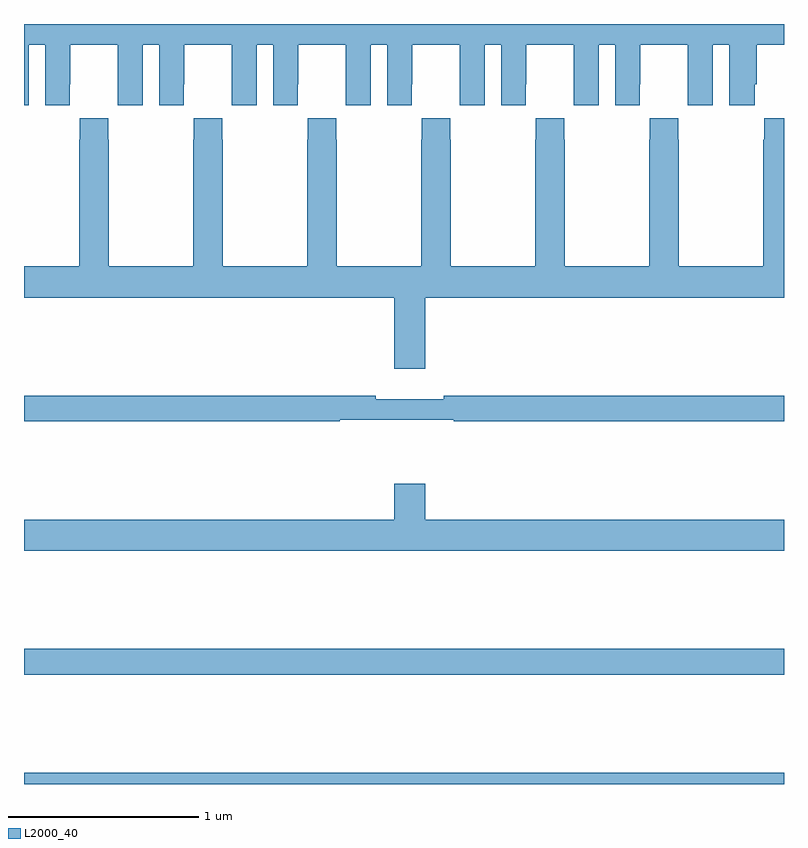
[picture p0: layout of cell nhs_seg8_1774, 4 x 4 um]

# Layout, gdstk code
import gdstk
lib = gdstk.Library(unit=1e-6, precision=1e-09)
def R(c, l, rs):  # rectangles x0, y0, x1, y1
    for r in rs: c.add(gdstk.rectangle(r[:2], r[2:], *l))
def P(c, l, *ps):  # polygons
    for p in ps: c.add(gdstk.Polygon(p, *l))
L2000_40 = (2000, 40)

nhs_seg8_1774 = lib.new_cell('nhs_seg8_1774')
R(nhs_seg8_1774, L2000_40, [(223,1153.9,227,1153.96), (223,1154.476,227,1154.612)])
P(nhs_seg8_1774, L2000_40, [(223.024,1157.792),(223.112,1157.792),(223.112,1157.472),(223.242,1157.472),(223.242,1157.584),(223.243,1157.584),(223.243,1157.792),(223.493,1157.792),(223.493,1157.584),(223.494,1157.584),(223.494,1157.472),(223.624,1157.472),(223.624,1157.792),(223.712,1157.792),(223.712,1157.472),(223.842,1157.472),(223.842,1157.584),(223.843,1157.584),(223.843,1157.792),(224.093,1157.792),(224.093,1157.584),(224.094,1157.584),(224.094,1157.472),(224.224,1157.472),(224.224,1157.792),(224.312,1157.792),(224.312,1157.472),(224.442,1157.472),(224.442,1157.584),(224.443,1157.584),(224.443,1157.792),(224.693,1157.792),(224.693,1157.584),(224.694,1157.584),(224.694,1157.472),(224.824,1157.472),(224.824,1157.792),(224.912,1157.792),(224.912,1157.472),(225.042,1157.472),(225.042,1157.584),(225.043,1157.584),(225.043,1157.792),(225.293,1157.792),(225.293,1157.584),(225.294,1157.584),(225.294,1157.472),(225.424,1157.472),(225.424,1157.792),(225.512,1157.792),(225.512,1157.472),(225.642,1157.472),(225.642,1157.584),(225.643,1157.584),(225.643,1157.792),(225.893,1157.792),(225.893,1157.584),(225.894,1157.584),(225.894,1157.472),(226.024,1157.472),(226.024,1157.792),(226.112,1157.792),(226.112,1157.472),(226.242,1157.472),(226.242,1157.584),(226.243,1157.584),(226.243,1157.792),(226.493,1157.792),(226.493,1157.584),(226.494,1157.584),(226.494,1157.472),(226.624,1157.472),(226.624,1157.792),(226.712,1157.792),(226.712,1157.472),(226.846,1157.472),(226.846,1157.584),(226.856,1157.584),(226.856,1157.792),(227,1157.792),(227,1157.9),(223,1157.9),(223,1157.472),(223.024,1157.472)],
  [(225.112,1156.46),(227,1156.46),(227,1157.404),(226.897,1157.404),(226.897,1157.291),(226.891,1157.291),(226.891,1156.624),(226.446,1156.624),(226.446,1157.291),(226.443,1157.291),(226.443,1157.404),(226.293,1157.404),(226.293,1157.291),(226.291,1157.291),(226.291,1156.624),(225.846,1156.624),(225.846,1157.291),(225.843,1157.291),(225.843,1157.404),(225.693,1157.404),(225.693,1157.291),(225.691,1157.291),(225.691,1156.624),(225.246,1156.624),(225.246,1157.291),(225.243,1157.291),(225.243,1157.404),(225.093,1157.404),(225.093,1157.291),(225.091,1157.291),(225.091,1156.624),(224.646,1156.624),(224.646,1157.291),(224.643,1157.291),(224.643,1157.404),(224.493,1157.404),(224.493,1157.291),(224.491,1157.291),(224.491,1156.624),(224.046,1156.624),(224.046,1157.291),(224.043,1157.291),(224.043,1157.404),(223.893,1157.404),(223.893,1157.291),(223.891,1157.291),(223.891,1156.624),(223.446,1156.624),(223.446,1157.291),(223.443,1157.291),(223.443,1157.404),(223.293,1157.404),(223.293,1157.291),(223.291,1157.291),(223.291,1156.624),(223,1156.624),(223,1156.46),(224.948,1156.46),(224.948,1156.086),(225.112,1156.086)],
  [(224.662,1155.816),(225.262,1155.816),(225.262,1155.808),(227,1155.808),(227,1155.944),(225.208,1155.944),(225.208,1155.925),(224.852,1155.925),(224.852,1155.944),(223,1155.944),(223,1155.808),(224.662,1155.808)],
  [(227,1155.292),(225.112,1155.292),(225.112,1155.481),(224.948,1155.481),(224.948,1155.292),(223,1155.292),(223,1155.128),(227,1155.128)])

lib.write_gds('nhs_seg8_1774.gds')
